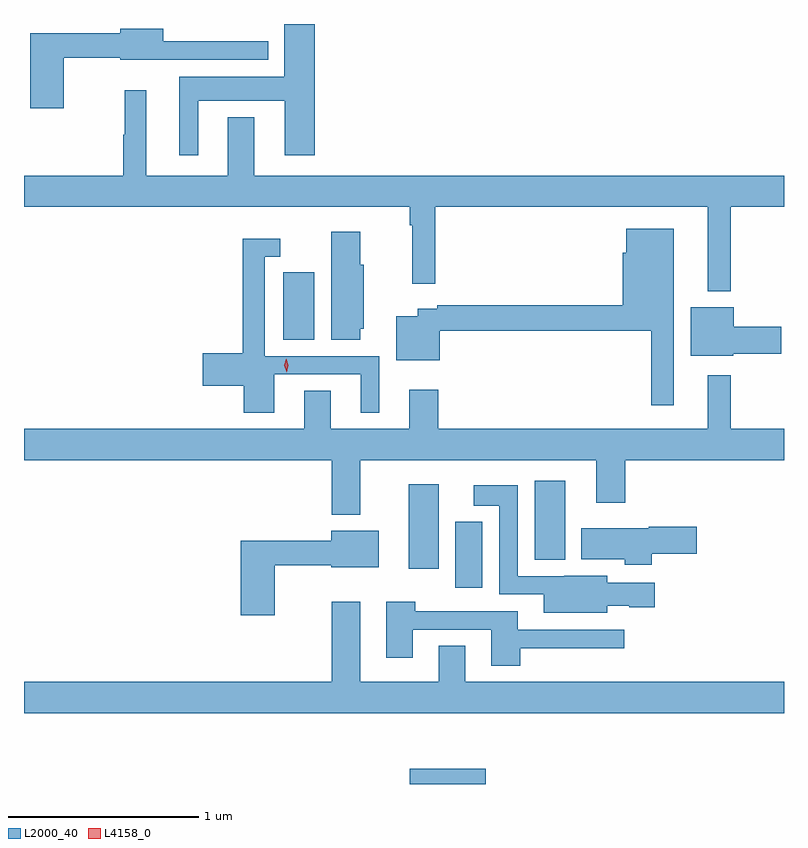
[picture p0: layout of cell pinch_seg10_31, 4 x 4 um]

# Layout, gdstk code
import gdstk
lib = gdstk.Library(unit=1e-6, precision=1e-09)
def R(c, l, rs):  # rectangles x0, y0, x1, y1
    for r in rs: c.add(gdstk.rectangle(r[:2], r[2:], *l))
def P(c, l, *ps):  # polygons
    for p in ps: c.add(gdstk.Polygon(p, *l))
L2000_40 = (2000, 40)
L4158_0 = (4158, 0)

pinch_seg10_31 = lib.new_cell('pinch_seg10_31')
R(pinch_seg10_31, L2000_40, [(930.122,1307.935,930.523,1308.015), (930.362,1308.969,930.505,1309.315), (930.116,1309.068,930.274,1309.513), (930.779,1309.115,930.94,1309.531), (929.456,1310.272,929.62,1310.629)])
P(pinch_seg10_31, L2000_40, [(929.008,1311.53),(929.465,1311.53),(929.465,1311.243),(929.621,1311.243),(929.621,1311.935),(928.91,1311.935),(928.91,1311.933),(929.462,1311.933),(929.462,1311.658),(928.91,1311.658),(928.91,1311.243),(929.008,1311.243)],
  [(928.302,1311.757),(928.598,1311.757),(928.598,1311.746),(928.821,1311.746),(928.821,1311.747),(929.377,1311.747),(929.377,1311.843),(928.825,1311.843),(928.825,1311.91),(928.598,1311.91),(928.598,1311.886),(928.124,1311.886),(928.124,1311.492),(928.302,1311.492)],
  [(931.813,1310.972),(932.092,1310.972),(932.092,1311.136),(929.305,1311.136),(929.305,1311.445),(929.165,1311.445),(929.165,1311.136),(928.735,1311.136),(928.735,1311.586),(928.621,1311.586),(928.621,1311.353),(928.614,1311.353),(928.614,1311.136),(928.092,1311.136),(928.092,1310.972),(930.121,1310.972),(930.121,1310.876),(930.136,1310.876),(930.136,1310.568),(930.257,1310.568),(930.257,1310.972),(931.691,1310.972),(931.691,1310.528),(931.813,1310.528)],
  [(931.513,1310.857),(931.262,1310.857),(931.262,1310.73),(931.244,1310.73),(931.244,1310.456),(930.268,1310.456),(930.268,1310.437),(930.164,1310.437),(930.164,1310.398),(930.05,1310.398),(930.05,1310.165),(930.28,1310.165),(930.28,1310.32),(931.392,1310.32),(931.392,1309.929),(931.513,1309.929)],
  [(929.863,1310.331),(929.881,1310.331),(929.881,1310.667),(929.863,1310.667),(929.863,1310.842),(929.708,1310.842),(929.708,1310.272),(929.863,1310.272)],
  [(929.41,1310.091),(929.864,1310.091),(929.864,1309.89),(929.962,1309.89),(929.962,1310.187),(929.358,1310.187),(929.358,1310.709),(929.44,1310.709),(929.44,1310.806),(929.242,1310.806),(929.242,1310.201),(929.034,1310.201),(929.034,1310.03),(929.249,1310.03),(929.249,1309.89),(929.41,1309.89)],
  [(931.824,1310.2),(932.077,1310.2),(932.077,1310.342),(931.828,1310.342),(931.828,1310.443),(931.601,1310.443),(931.601,1310.189),(931.824,1310.189)],
  [(929.863,1309.64),(931.103,1309.64),(931.103,1309.416),(931.256,1309.416),(931.256,1309.64),(932.092,1309.64),(932.092,1309.804),(931.813,1309.804),(931.813,1310.086),(931.691,1310.086),(931.691,1309.804),(930.272,1309.804),(930.272,1310.011),(930.119,1310.011),(930.119,1309.804),(929.707,1309.804),(929.707,1310.006),(929.567,1310.006),(929.567,1309.804),(928.092,1309.804),(928.092,1309.64),(929.711,1309.64),(929.711,1309.352),(929.863,1309.352)],
  [(931.162,1308.872),(931.278,1308.872),(931.278,1308.865),(931.411,1308.865),(931.411,1308.994),(931.162,1308.994),(931.162,1309.03),(930.936,1309.03),(930.936,1309.029),(930.69,1309.029),(930.69,1309.507),(930.459,1309.507),(930.459,1309.4),(930.594,1309.4),(930.594,1308.933),(930.827,1308.933),(930.827,1308.836),(931.162,1308.836)],
  [(931.397,1309.148),(931.633,1309.148),(931.633,1309.29),(931.38,1309.29),(931.38,1309.282),(931.025,1309.282),(931.025,1309.118),(931.255,1309.118),(931.255,1309.088),(931.397,1309.088)],
  [(929.412,1309.087),(929.708,1309.087),(929.708,1309.076),(929.959,1309.076),(929.959,1309.267),(929.708,1309.267),(929.708,1309.216),(929.234,1309.216),(929.234,1308.822),(929.412,1308.822)],
  [(930.704,1308.65),(931.252,1308.65),(931.252,1308.747),(930.691,1308.747),(930.691,1308.843),(930.152,1308.843),(930.152,1308.895),(929.999,1308.895),(929.999,1308.6),(930.139,1308.6),(930.139,1308.747),(930.551,1308.747),(930.551,1308.558),(930.704,1308.558)],
  [(932.092,1308.472),(930.415,1308.472),(930.415,1308.662),(930.275,1308.662),(930.275,1308.472),(929.863,1308.472),(929.863,1308.895),(929.711,1308.895),(929.711,1308.472),(928.092,1308.472),(928.092,1308.308),(932.092,1308.308)])
P(pinch_seg10_31, L4158_0, [(929.474,1310.103),(929.474,1310.103),(929.462,1310.138),(929.471,1310.174),(929.471,1310.174),(929.471,1310.174),(929.482,1310.139),(929.474,1310.103)])

lib.write_gds('pinch_seg10_31.gds')
